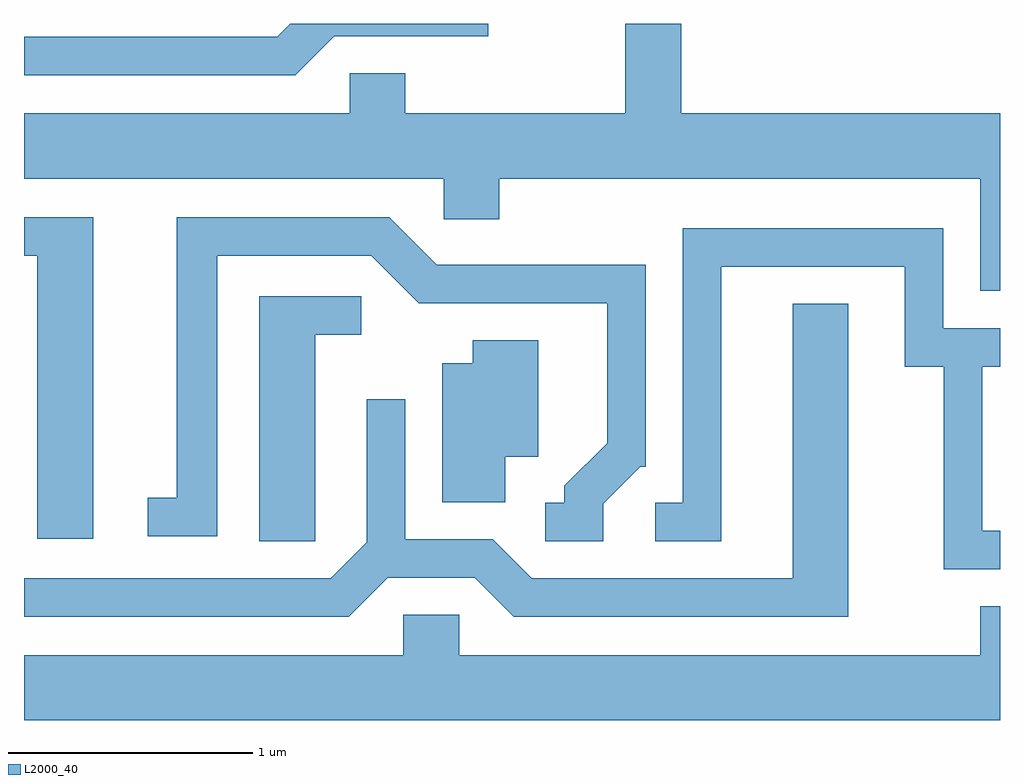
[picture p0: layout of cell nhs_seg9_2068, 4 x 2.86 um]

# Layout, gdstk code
import gdstk
lib = gdstk.Library(unit=1e-6, precision=1e-09)
def P(c, l, *ps):  # polygons
    for p in ps: c.add(gdstk.Polygon(p, *l))
L2000_40 = (2000, 40)

nhs_seg9_2068 = lib.new_cell('nhs_seg9_2068')
P(nhs_seg9_2068, L2000_40, [(246.882,2012.381),(247.514,2012.381),(247.514,2012.432),(246.702,2012.432),(246.649,2012.379),(245.611,2012.379),(245.611,2012.221),(246.722,2012.221)],
  [(249.611,2012.064),(248.304,2012.064),(248.304,2012.432),(248.076,2012.432),(248.076,2012.064),(247.174,2012.064),(247.174,2012.229),(246.946,2012.229),(246.946,2012.064),(245.611,2012.064),(245.611,2011.796),(247.331,2011.796),(247.331,2011.631),(247.559,2011.631),(247.559,2011.796),(249.531,2011.796),(249.531,2011.336),(249.611,2011.336)],
  [(247.984,2010.464),(248.137,2010.616),(248.159,2010.616),(248.159,2011.444),(247.302,2011.444),(247.107,2011.639),(246.236,2011.639),(246.236,2010.489),(246.118,2010.489),(246.118,2010.331),(246.404,2010.331),(246.404,2011.481),(247.034,2011.481),(247.229,2011.286),(248.001,2011.286),(248.001,2010.712),(247.826,2010.537),(247.826,2010.469),(247.748,2010.469),(247.748,2010.311),(247.984,2010.311)],
  [(245.894,2011.639),(245.611,2011.639),(245.611,2011.481),(245.666,2011.481),(245.666,2010.321),(245.894,2010.321)],
  [(249.611,2010.354),(249.539,2010.354),(249.539,2011.026),(249.611,2011.026),(249.611,2011.184),(249.379,2011.184),(249.379,2011.594),(248.311,2011.594),(248.311,2010.469),(248.198,2010.469),(248.198,2010.311),(248.469,2010.311),(248.469,2011.436),(249.221,2011.436),(249.221,2011.026),(249.381,2011.026),(249.381,2010.196),(249.611,2010.196)],
  [(246.804,2011.156),(246.993,2011.156),(246.993,2011.314),(246.576,2011.314),(246.576,2010.311),(246.804,2010.311)],
  [(247.102,2010.161),(247.459,2010.161),(247.619,2010.001),(248.989,2010.001),(248.989,2011.284),(248.761,2011.284),(248.761,2010.159),(247.692,2010.159),(247.532,2010.319),(247.174,2010.319),(247.174,2010.893),(247.016,2010.893),(247.016,2010.307),(246.869,2010.159),(245.611,2010.159),(245.611,2010.001),(246.942,2010.001)],
  [(247.584,2010.656),(247.719,2010.656),(247.719,2011.134),(247.451,2011.134),(247.451,2011.039),(247.326,2011.039),(247.326,2010.471),(247.584,2010.471)],
  [(249.611,2010.044),(249.531,2010.044),(249.531,2009.844),(247.394,2009.844),(247.394,2010.009),(247.166,2010.009),(247.166,2009.844),(245.611,2009.844),(245.611,2009.576),(249.611,2009.576)])

lib.write_gds('nhs_seg9_2068.gds')
